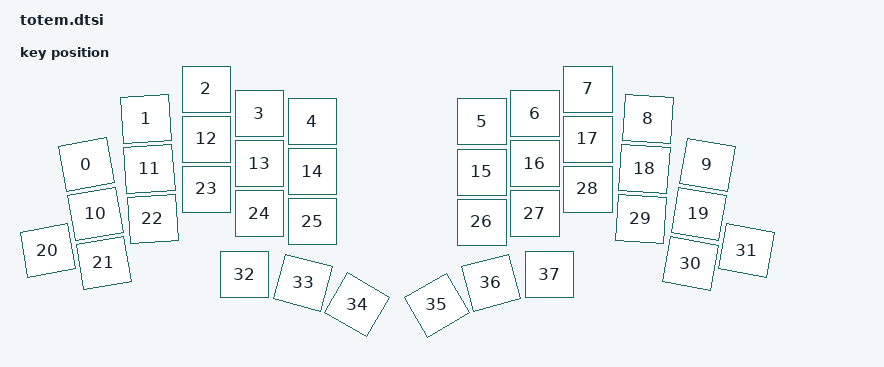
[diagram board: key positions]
#include <physical_layouts.dtsi>
/* https://zmk-physical-layout-converter.streamlit.app/ */

/ {
    physical_layout0: physical_layout {
        compatible = "zmk,physical-layout";
        display-name = "Default Layout";
        transform = <&default_transform>;

        keys  //                     w   h    x    y     rot   rx   ry
            = <&key_physical_attrs 105 100   77  151 (-1000)  130  201>
            , <&key_physical_attrs 105 100  196   60  (-400)  249  110>
            , <&key_physical_attrs 105 100  317    0       0    0    0>
            , <&key_physical_attrs 105 100  423   49       0    0    0>
            , <&key_physical_attrs 105 100  529   65       0    0    0>
            , <&key_physical_attrs 105 100  868   65       0    0    0>
            , <&key_physical_attrs 105 100  974   49       0    0    0>
            , <&key_physical_attrs 105 100 1080    0       0    0    0>
            , <&key_physical_attrs 105 100 1200   60     400 1253  110>
            , <&key_physical_attrs 105 100 1319  152    1000 1372  202>
            , <&key_physical_attrs 105 100   95  250 (-1000)  147  300>
            , <&key_physical_attrs 105 100  203  160  (-400)  256  210>
            , <&key_physical_attrs 105 100  317  100       0    0    0>
            , <&key_physical_attrs 105 100  423  149       0    0    0>
            , <&key_physical_attrs 105 100  529  165       0    0    0>
            , <&key_physical_attrs 105 100  868  166       0    0    0>
            , <&key_physical_attrs 105 100  974  149       0    0    0>
            , <&key_physical_attrs 105 100 1080  100       0    0    0>
            , <&key_physical_attrs 105 100 1193  160     400 1246  210>
            , <&key_physical_attrs 105 100 1302  250    1000 1355  300>
            , <&key_physical_attrs 105 100    0  323 (-1000)   52  373>
            , <&key_physical_attrs 105 100  112  348 (-1000)  165  398>
            , <&key_physical_attrs 105 100  210  260  (-400)  263  310>
            , <&key_physical_attrs 105 100  317  200       0    0    0>
            , <&key_physical_attrs 105 100  423  249       0    0    0>
            , <&key_physical_attrs 105 100  529  265       0    0    0>
            , <&key_physical_attrs 105 100  868  266       0    0    0>
            , <&key_physical_attrs 105 100  974  249       0    0    0>
            , <&key_physical_attrs 105 100 1080  200       0    0    0>
            , <&key_physical_attrs 105 100 1186  260     400 1239  310>
            , <&key_physical_attrs 105 100 1285  349    1000 1338  399>
            , <&key_physical_attrs 105 100 1397  323    1000 1450  373>
            , <&key_physical_attrs 105 100  393  371       0    0    0>
            , <&key_physical_attrs 105 100  511  387    1500  563  437>
            , <&key_physical_attrs 105 100  619  432    3000  672  482>
            , <&key_physical_attrs 105 100  778  432 (-3000)  831  482>
            , <&key_physical_attrs 105 100  886  387 (-1500)  939  437>
            , <&key_physical_attrs 105 100 1003  371       0    0    0>
            ;
    };
};
